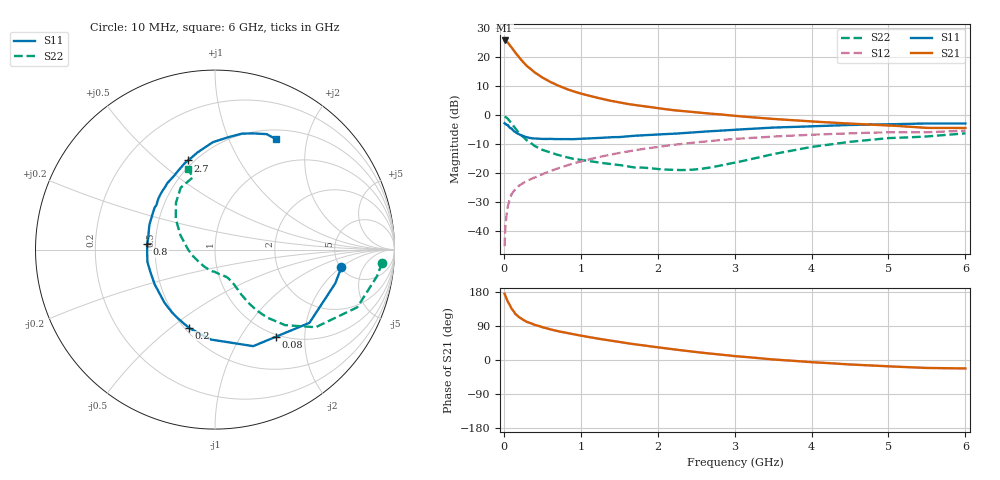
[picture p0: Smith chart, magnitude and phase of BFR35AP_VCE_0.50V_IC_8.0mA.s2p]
! Infineon Technologies  Discrete & RF Semiconductors
! BFR35AP
! VCE = 0.50 V,  IC =  8.0 mA
! Common Emitter S-Parameters:  Nov 2015
# GHz  S  MA  R  50
!  f  S11  S21  S12  S22
! GHz  MAG  ANG  MAG  ANG  MAG  ANG  MAG  ANG
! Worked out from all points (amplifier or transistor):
!   210 points, 10 MHz to 6 GHz, reference 50 ohm
!   highest |S21| = 25.6 dB at 10 MHz (marker M1)
!   |S21| within 3 dB of that: start of sweep to 117.2 MHz
!   unconditionally stable (mu >= 1): 411 MHz to end of sweep
!   at 185 MHz: K = 0.60, MSG = 22.5 dB, |S12| = -24.8 dB
!   at 1.52 GHz: K = 1.28, MAG = 5.5 dB, |S12| = -13.1 dB
!   at 6 GHz: K = 1.10, MAG = -1.5 dB, |S12| = -5.5 dB
!   S11 on the Smith chart (normalised r, x): 10 MHz: 5.08, -2.03; 80 MHz: 0.96, -1.44; 200 MHz: 0.52, -0.58; 800 MHz: 0.45, +0.03; 2.7 GHz: 0.47, +0.63; 6 GHz: 0.62, +1.51
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0.01  0.7109 -8.0  19.02 174.8  0.0054 84.2  0.9341 -4.5
0.02  0.696 -15.7  18.89 169.0  0.0112 83.0  0.9149 -9.3
0.05  0.6658 -37.8  17.64 154.4  0.0258 70.7  0.8552 -22.1
0.08  0.5921 -55.2  15.57 144.0  0.0357 62.9  0.7604 -30.7
0.1  0.5785 -68.4  14.53 135.6  0.0425 59.8  0.7087 -37.6
0.15  0.5017 -92.6  11.68 121.5  0.0523 53.8  0.5735 -47.2
0.2  0.4589 -108.7  9.643 112.7  0.06 51.0  0.4771 -52.5
0.24  0.4335 -119.4  8.373 107.5  0.0649 50.2  0.4236 -54.9
0.26  0.4242 -124.4  7.828 105.0  0.0672 50.1  0.4002 -55.9
0.3  0.4085 -133.5  6.893 100.5  0.0716 50.7  0.3594 -57.5
0.4  0.388 -150.0  5.359 92.8  0.0825 51.8  0.289 -59.7
0.5  0.3812 -160.5  4.368 86.6  0.0937 53.1  0.2474 -60.5
0.6  0.3829 -169.8  3.692 81.1  0.1061 54.1  0.223 -61.2
0.8  0.3798 175.5  2.814 71.9  0.1306 55.1  0.1865 -63.7
1.02  0.385 163.0  2.274 63.7  0.1583 54.7  0.1649 -67.4
1.4  0.4092 145.5  1.721 50.8  0.2057 51.9  0.1407 -78.7
2.02  0.4565 125.1  1.284 33.1  0.2804 44.8  0.115 -109.2
2.7  0.5186 106.8  1.036 16.7  0.353 35.4  0.1238 -159.7
3.1  0.5587 98.3  0.929 8.7  0.389 29.3  0.1583 174.6
4.1  0.6359 82.0  0.75 -6.8  0.4564 15.4  0.2891 139.0
5.1  0.6867 70.3  0.641 -17.6  0.4964 2.4  0.3982 116.5
6  0.7029 61.3  0.589 -22.3  0.5288 -6.3  0.4754 108.5
